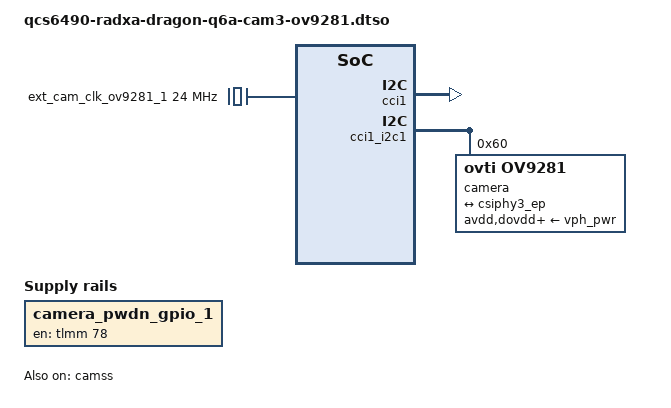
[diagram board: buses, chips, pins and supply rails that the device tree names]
// SPDX-License-Identifier: BSD-3-Clause
/*
 * OV9281 on CAM3. Same as the CAM2 variant but routed to:
 *   cci1 / cci1_i2c1, CSIPHY port@3, power-enable on gpio78.
 */

/dts-v1/;
/plugin/;

#include <dt-bindings/gpio/gpio.h>

/ {
	metadata {
		title = "Enable Waveshare OV9281 camera on CAM3";
		compatible = "radxa,dragon-q6a";
		category = "camera";
		exclusive = "cci1_i2c1";
		description = "Enable Waveshare OV9281 mono global-shutter camera on CAM3.";
	};
};

&{/} {
	ext_cam_clk_ov9281_1: ext-cam-clk-ov9281-1 {
		status = "okay";
		compatible = "fixed-clock";
		clock-frequency = <24000000>;
		clock-output-names = "ext_cam_clk_ov9281_1";
		#clock-cells = <0>;
	};

	camera_pwdn_gpio_1: camera-pwdn-gpio-1 {
		status = "okay";
		compatible = "regulator-fixed";
		regulator-name = "camera_pwdn_gpio_1";
		regulator-always-on;
		enable-active-high;
		gpios = <&tlmm 78 GPIO_ACTIVE_HIGH>;
		pinctrl-names = "default";
		pinctrl-0 = <&cam_pwdn_gpio_1>;
	};
};

&{/reserved-memory} {
	linux,cma {
		compatible = "shared-dma-pool";
		size = <0x0 0x8000000>;
		reusable;
		linux,cma-default;
	};
};

&camss {
	vdda-phy-supply = <&vreg_l10c_0p88>;
	vdda-pll-supply = <&vreg_l6b_1p2>;

	status = "okay";

	ports {
		#address-cells = <1>;
		#size-cells = <0>;

		/* The port index denotes CSIPHY id i.e. csiphy3 */
		port@3 {
			reg = <3>;

			csiphy3_ep: endpoint {
				clock-lanes = <7>;
				data-lanes = <0 1>;
				remote-endpoint = <&ov9281_1_ep>;
			};
		};
	};
};

&cci1 {
	status = "okay";
};

&cci1_i2c1 {
	#address-cells = <1>;
	#size-cells = <0>;
	status = "okay";

	camera@60 {
		compatible = "ovti,ov9281";
		reg = <0x60>;

		clocks = <&ext_cam_clk_ov9281_1>;

		avdd-supply = <&vph_pwr>;
		dovdd-supply = <&vph_pwr>;
		dvdd-supply = <&vph_pwr>;

		port {
			ov9281_1_ep: endpoint {
				link-frequencies = /bits/ 64 <400000000>;
				data-lanes = <1 2>;
				remote-endpoint = <&csiphy3_ep>;
			};
		};
	};
};

&tlmm {
	cam_pwdn_gpio_1: cam-pwdn-gpio-1-state {
		pins = "gpio78";
		function = "gpio";
		drive-strength = <2>;
		bias-pull-up;
	};
};
